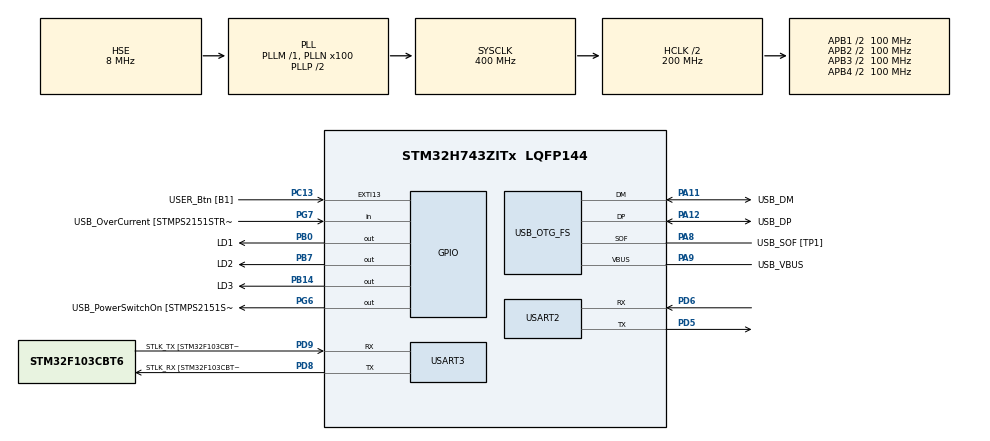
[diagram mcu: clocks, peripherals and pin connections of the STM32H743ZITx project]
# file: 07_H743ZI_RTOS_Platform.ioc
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FREERTOS.Tasks01=defaultTask,0,128,StartDefaultTask,Default,NULL
FREERTOS.configTOTAL_HEAP_SIZE=65536
Mcu.Family=STM32H7
Mcu.Name=STM32H743ZITx
Mcu.Package=LQFP144
NVIC.EXTI15_10_IRQn=true\:5\:0\:false\:false\:true\:true\:true
NVIC.OTG_FS_IRQn=true\:5\:0\:false\:false\:true\:true\:false
NVIC.PriorityGroup=NVIC_PRIORITYGROUP_4
NVIC.TIM17_IRQn=true\:0\:0\:false\:false\:true\:false\:false
NVIC.TimeBase=TIM17_IRQn
NVIC.TimeBaseIP=TIM17
NVIC.USART2_IRQn=true\:5\:0\:false\:false\:true\:true\:true
PA11.GPIO_Label=USB_DM
PA11.Mode=Device_Only
PA11.Signal=USB_OTG_FS_DM
PA12.GPIO_Label=USB_DP
PA12.Mode=Device_Only
PA12.Signal=USB_OTG_FS_DP
PA13\ (JTMS/SWDIO).GPIO_Label=TMS
PA13\ (JTMS/SWDIO).Mode=Serial_Wire
PA13\ (JTMS/SWDIO).Signal=SYS_JTMS-SWDIO
PA14\ (JTCK/SWCLK).GPIO_Label=TCK
PA14\ (JTCK/SWCLK).Mode=Serial_Wire
PA14\ (JTCK/SWCLK).Signal=SYS_JTCK-SWCLK
PA8.GPIO_Label=USB_SOF [TP1]
PA8.Mode=Activate_SOF_FS
PA8.Signal=USB_OTG_FS_SOF
PA9.GPIO_Label=USB_VBUS
PA9.Mode=Activate_VBUS
PA9.Signal=USB_OTG_FS_VBUS
PB0.GPIO_Label=LD1
PB0.GPIO_PuPd=GPIO_PULLUP
PB0.Signal=GPIO_Output
PB14.GPIO_Label=LD3
PB14.GPIO_PuPd=GPIO_PULLUP
PB14.Signal=GPIO_Output
PB3\ (JTDO/TRACESWO).GPIO_Label=SWO
PB3\ (JTDO/TRACESWO).Signal=SYS_JTDO-SWO
PB7.GPIO_Label=LD2
PB7.GPIO_PuPd=GPIO_PULLUP
PB7.Signal=GPIO_Output
PC13.GPIO_Label=USER_Btn [B1]
PC13.Signal=GPXTI13
PC14-OSC32_IN\ (OSC32_IN).Mode=LSE-External-Oscillator
PC14-OSC32_IN\ (OSC32_IN).Signal=RCC_OSC32_IN
PC15-OSC32_OUT\ (OSC32_OUT).Mode=LSE-External-Oscillator
PC15-OSC32_OUT\ (OSC32_OUT).Signal=RCC_OSC32_OUT
PD5.Mode=Asynchronous
PD5.Signal=USART2_TX
PD6.Mode=Asynchronous
PD6.Signal=USART2_RX
PD8.GPIO_Label=STLK_RX [STM32F103CBT6_PA3]
PD8.Mode=Asynchronous
PD8.Signal=USART3_TX
PD9.GPIO_Label=STLK_TX [STM32F103CBT6_PA2]
PD9.Mode=Asynchronous
PD9.Signal=USART3_RX
PG6.GPIO_Label=USB_PowerSwitchOn [STMPS2151STR_EN]
PG6.Signal=GPIO_Output
PG7.GPIO_Label=USB_OverCurrent [STMPS2151STR_FAULT]
PG7.Signal=GPIO_Input
PH0-OSC_IN\ (PH0).GPIO_Label=MCO
PH0-OSC_IN\ (PH0).Mode=HSE-External-Clock-Source
PH0-OSC_IN\ (PH0).Signal=RCC_OSC_IN
PH1-OSC_OUT\ (PH1).Mode=HSE-External-Clock-Source
PH1-OSC_OUT\ (PH1).Signal=RCC_OSC_OUT
ProjectManager.HeapSize=0x200
ProjectManager.StackSize=0x400
ProjectManager.TargetToolchain=EWARM V8
RCC.48MHZClocksFreq_Value=24000000
RCC.ADCFreq_Value=16125000
RCC.AHBFreq_Value=216000000
RCC.APB1CLKDivider=RCC_HCLK_DIV4
RCC.APB1Freq_Value=100000000
RCC.APB1TimFreq_Value=108000000
RCC.APB2CLKDivider=RCC_HCLK_DIV2
RCC.APB2Freq_Value=100000000
RCC.APB2TimFreq_Value=216000000
RCC.APB3Freq_Value=100000000
RCC.APB4Freq_Value=100000000
RCC.CortexFreq_Value=400000000
RCC.D1PPRE=RCC_APB3_DIV2
RCC.D2PPRE1=RCC_APB1_DIV2
RCC.D2PPRE2=RCC_APB2_DIV2
RCC.D3PPRE=RCC_APB4_DIV2
RCC.DIVM1=1
RCC.DIVN1=100
RCC.DIVQ1=4
RCC.HCLKFreq_Value=200000000
RCC.HPRE=RCC_HCLK_DIV2
RCC.HSE_VALUE=8000000
RCC.HSI_VALUE=64000000
RCC.PLLM=25
RCC.PLLMUL=RCC_PLL_MUL9
RCC.PLLN=432
RCC.PLLQ=9
RCC.PLLSourceVirtual=RCC_PLLSOURCE_HSE
RCC.PRESCALERUSB=RCC_USBCLKSOURCE_PLL_DIV1_5
RCC.SYSCLKFreq_VALUE=400000000
RCC.SYSCLKSource=RCC_SYSCLKSOURCE_PLLCLK
RCC.SYSCLKSourceVirtual=RCC_SYSCLKSOURCE_PLLCLK
RCC.USBCLockSelection=RCC_USBCLKSOURCE_HSI48
RCC.USBFreq_Value=48000000
RCC.VCOOutputFreq_Value=432000000
USART2.VirtualMode-Asynchronous=VM_ASYNC
USART3.VirtualMode-Asynchronous=VM_ASYNC
USB_DEVICE.APP_RX_DATA_SIZE-CDC_FS=2048
USB_DEVICE.APP_TX_DATA_SIZE-CDC_FS=2048
USB_DEVICE.CLASS_NAME_FS=CDC
USB_DEVICE.VirtualMode-CDC_FS=Cdc
USB_DEVICE.VirtualModeFS=Cdc_FS
USB_OTG_FS.VirtualMode=Device_Only
VP_FREERTOS_VS_ENABLE.Mode=Enabled
VP_SYS_VS_tim17.Mode=TIM17
VP_USB_DEVICE_VS_USB_DEVICE_CDC_FS.Mode=CDC_FS
board=NUCLEO-H743ZI

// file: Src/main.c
/* USER CODE BEGIN Header */
/**
  ******************************************************************************
  * @file           : main.c
  * @brief          : Main program body
  ******************************************************************************
  * This notice applies to any and all portions of this file
  * that are not between comment pairs USER CODE BEGIN and
  * USER CODE END. Other portions of this file, whether
  * inserted by the user or by software development tools
  * are owned by their respective copyright owners.
  *
  * Copyright (c) 2019 STMicroelectronics International N.V.
  * All rights reserved.
  *
  * Redistribution and use in source and binary forms, with or without
  * modification, are permitted, provided that the following conditions are met:
  *
  * 1. Redistribution of source code must retain the above copyright notice,
  *    this list of conditions and the following disclaimer.
  * 2. Redistributions in binary form must reproduce the above copyright notice,
  *    this list of conditions and the following disclaimer in the documentation
  *    and/or other materials provided with the distribution.
  * 3. Neither the name of STMicroelectronics nor the names of other
  *    contributors to this software may be used to endorse or promote products
  *    derived from this software without specific written permission.
  * 4. This software, including modifications and/or derivative works of this
  *    software, must execute solely and exclusively on microcontroller or
  *    microprocessor devices manufactured by or for STMicroelectronics.
  * 5. Redistribution and use of this software other than as permitted under
  *    this license is void and will automatically terminate your rights under
  *    this license.
  *
  * THIS SOFTWARE IS PROVIDED BY STMICROELECTRONICS AND CONTRIBUTORS "AS IS"
  * AND ANY EXPRESS, IMPLIED OR STATUTORY WARRANTIES, INCLUDING, BUT NOT
  * LIMITED TO, THE IMPLIED WARRANTIES OF MERCHANTABILITY, FITNESS FOR A
  * PARTICULAR PURPOSE AND NON-INFRINGEMENT OF THIRD PARTY INTELLECTUAL PROPERTY
  * RIGHTS ARE DISCLAIMED TO THE FULLEST EXTENT PERMITTED BY LAW. IN NO EVENT
  * SHALL STMICROELECTRONICS OR CONTRIBUTORS BE LIABLE FOR ANY DIRECT, INDIRECT,
  * INCIDENTAL, SPECIAL, EXEMPLARY, OR CONSEQUENTIAL DAMAGES (INCLUDING, BUT NOT
  * LIMITED TO, PROCUREMENT OF SUBSTITUTE GOODS OR SERVICES; LOSS OF USE, DATA,
  * OR PROFITS; OR BUSINESS INTERRUPTION) HOWEVER CAUSED AND ON ANY THEORY OF
  * LIABILITY, WHETHER IN CONTRACT, STRICT LIABILITY, OR TORT (INCLUDING
  * NEGLIGENCE OR OTHERWISE) ARISING IN ANY WAY OUT OF THE USE OF THIS SOFTWARE,
  * EVEN IF ADVISED OF THE POSSIBILITY OF SUCH DAMAGE.
  *
  ******************************************************************************
  */
/* USER CODE END Header */

#include "main.h"
#include "cmsis_os.h"
#include "usart.h"
#include "usb_device.h"
#include "gpio.h"

/* USER CODE BEGIN Includes */
#include "j_data.h"
#include "j_ring.h"
/* USER CODE END Includes */

/* USER CODE BEGIN PV */
properties_t	*p_properties;
RingBuffer_t	rbUartRx;

/* USER CODE END PV */

void SystemClock_Config(void);
void MX_FREERTOS_Init(void);
/* USER CODE BEGIN PFP */

uint8_t	vars_init( properties_t *ivp );
/* USER CODE END PFP */

/* USER CODE BEGIN 0 */
PUTCHAR_PROTOTYPE
{
	HAL_UART_Transmit(&PRINTF_UART_PORT, (uint8_t *)&ch, 1, 0xFFFF);
	return ch;
}
/* USER CODE END 0 */

int main(void)
{

  /* MCU Configuration--------------------------------------------------------*/

  /* Reset of all peripherals, Initializes the Flash interface and the Systick. */
  HAL_Init();

  /* Configure the system clock */
  SystemClock_Config();

  /* Initialize all configured peripherals */
  MX_GPIO_Init();
  MX_USART3_UART_Init();
  MX_USART2_UART_Init();
  /* USER CODE BEGIN 2 */
	printf( "Start RTOS Platform...\r\n" );

	/* Variable Init------------------------------------------------------------*/
	p_properties = (properties_t *)malloc( sizeof( properties_t ) );
	if( p_properties == NULL )
	{
		Error_Handler();
	}

	vars_init( p_properties );

	/* Ring buffer Init for uart input -----------------------------------------*/
	InitRingBuffer( &rbUartRx );
	HAL_UART_Receive_IT( &huart2, &rbUartRx.dummy, 1 );

	/* Gpio Init for LED -------------------------------------------------------*/
	HAL_GPIO_WritePin( LD1_GPIO_Port, LD1_Pin, GPIO_PIN_RESET );
	HAL_GPIO_WritePin( LD2_GPIO_Port, LD2_Pin, GPIO_PIN_RESET );
	HAL_GPIO_WritePin( LD3_GPIO_Port, LD3_Pin, GPIO_PIN_RESET );

  /* USER CODE END 2 */

  /* Call init function for freertos objects (in freertos.c) */
  MX_FREERTOS_Init();

  /* Start scheduler */
  osKernelStart();

  /* We should never get here as control is now taken by the scheduler */

  /* Infinite loop */
  while (1)
  {

  }
}

void SystemClock_Config(void)
{
  RCC_OscInitTypeDef RCC_OscInitStruct = {0};
  RCC_ClkInitTypeDef RCC_ClkInitStruct = {0};
  RCC_PeriphCLKInitTypeDef PeriphClkInitStruct = {0};

  /**Supply configuration update enable
  */
  MODIFY_REG(PWR->CR3, PWR_CR3_SCUEN, 0);
  /**Configure the main internal regulator output voltage
  */
  __HAL_PWR_VOLTAGESCALING_CONFIG(PWR_REGULATOR_VOLTAGE_SCALE1);

  while ((PWR->D3CR & (PWR_D3CR_VOSRDY)) != PWR_D3CR_VOSRDY)
  {

  }
  /**Initializes the CPU, AHB and APB busses clocks
  */
  RCC_OscInitStruct.OscillatorType = RCC_OSCILLATORTYPE_HSI48|RCC_OSCILLATORTYPE_HSE;
  RCC_OscInitStruct.HSEState = RCC_HSE_BYPASS;
  RCC_OscInitStruct.HSI48State = RCC_HSI48_ON;
  RCC_OscInitStruct.PLL.PLLState = RCC_PLL_ON;
  RCC_OscInitStruct.PLL.PLLSource = RCC_PLLSOURCE_HSE;
  RCC_OscInitStruct.PLL.PLLM = 1;
  RCC_OscInitStruct.PLL.PLLN = 100;
  RCC_OscInitStruct.PLL.PLLP = 2;
  RCC_OscInitStruct.PLL.PLLQ = 4;
  RCC_OscInitStruct.PLL.PLLR = 2;
  RCC_OscInitStruct.PLL.PLLRGE = RCC_PLL1VCIRANGE_3;
  RCC_OscInitStruct.PLL.PLLVCOSEL = RCC_PLL1VCOWIDE;
  RCC_OscInitStruct.PLL.PLLFRACN = 0;
  if (HAL_RCC_OscConfig(&RCC_OscInitStruct) != HAL_OK)
  {
    Error_Handler();
  }
  /**Initializes the CPU, AHB and APB busses clocks
  */
  RCC_ClkInitStruct.ClockType = RCC_CLOCKTYPE_HCLK|RCC_CLOCKTYPE_SYSCLK
                              |RCC_CLOCKTYPE_PCLK1|RCC_CLOCKTYPE_PCLK2
                              |RCC_CLOCKTYPE_D3PCLK1|RCC_CLOCKTYPE_D1PCLK1;
  RCC_ClkInitStruct.SYSCLKSource = RCC_SYSCLKSOURCE_PLLCLK;
  RCC_ClkInitStruct.SYSCLKDivider = RCC_SYSCLK_DIV1;
  RCC_ClkInitStruct.AHBCLKDivider = RCC_HCLK_DIV2;
  RCC_ClkInitStruct.APB3CLKDivider = RCC_APB3_DIV2;
  RCC_ClkInitStruct.APB1CLKDivider = RCC_APB1_DIV2;
  RCC_ClkInitStruct.APB2CLKDivider = RCC_APB2_DIV2;
  RCC_ClkInitStruct.APB4CLKDivider = RCC_APB4_DIV2;

  if (HAL_RCC_ClockConfig(&RCC_ClkInitStruct, FLASH_LATENCY_2) != HAL_OK)
  {
    Error_Handler();
  }
  PeriphClkInitStruct.PeriphClockSelection = RCC_PERIPHCLK_USART3|RCC_PERIPHCLK_USART2
                              |RCC_PERIPHCLK_USB;
  PeriphClkInitStruct.Usart234578ClockSelection = RCC_USART234578CLKSOURCE_D2PCLK1;
  PeriphClkInitStruct.UsbClockSelection = RCC_USBCLKSOURCE_HSI48;
  if (HAL_RCCEx_PeriphCLKConfig(&PeriphClkInitStruct) != HAL_OK)
  {
    Error_Handler();
  }
}

/* USER CODE BEGIN 4 */
uint8_t	vars_init( properties_t *ivp )
{
	printf( "%s\r\n", __func__ );

	// Initialize Flag Variable
	ivp->m_uartInFlag			= 0;

	// Create Memory Pool
	osPoolDef( incommpool, MEMORY_POOL_SIZE, MsgPkt_t );
	ivp->h_InCommPool		= osPoolCreate( osPool( incommpool ) );
	if( ivp->h_InCommPool == NULL )			printf( "error... osPoolCreate incommpool\r\n" );

//	osPoolDef( diagpool, MEMORY_POOL_SIZE, MsgPkt_t );
//	ivp->h_DiagPool			= osPoolCreate( osPool( diagpool ) );
//	if( ivp->h_DiagPool == NULL )			printf( "error... osPoolCreate diagpool\r\n" );

	osPoolDef( outcommpool, MEMORY_POOL_SIZE, MsgPkt_t );
	ivp->h_OutCommPool		= osPoolCreate( osPool( outcommpool ) );
	if( ivp->h_OutCommPool == NULL )		printf( "error... osPoolCreate outcommpool\r\n" );

	// Create Message Queue
	osMessageQDef( incommmessage, MESSAGE_QUEUE_SIZE, MsgClst_t );
	ivp->h_InCommMessage	= osMessageCreate( osMessageQ( incommmessage ), NULL );
	if( ivp->h_InCommMessage == NULL )		printf( "error... osMessageCreate incommmessage\r\n" );

	osMessageQDef( cancommmessage, MESSAGE_QUEUE_SIZE, MsgClst_t );
	ivp->h_CanCommMessage	= osMessageCreate( osMessageQ( cancommmessage ), NULL );
	if( ivp->h_CanCommMessage == NULL )		printf( "error... osMessageCreate cancommmessage\r\n" );

	osMessageQDef( kwpcommmessage, MESSAGE_QUEUE_SIZE, MsgClst_t );
	ivp->h_KwpCommMessage	= osMessageCreate( osMessageQ( kwpcommmessage ), NULL );
	if( ivp->h_KwpCommMessage == NULL )		printf( "error... osMessageCreate kwpcommmessage\r\n" );

	osMessageQDef( ethcommmessage, MESSAGE_QUEUE_SIZE, MsgClst_t );
	ivp->h_EthCommMessage	= osMessageCreate( osMessageQ( ethcommmessage ), NULL );
	if( ivp->h_EthCommMessage == NULL )		printf( "error... osMessageCreate ethcommmessage\r\n" );

	osMessageQDef( outcommmessage, MESSAGE_QUEUE_SIZE, MsgClst_t );
	ivp->h_OutCommMessage	= osMessageCreate( osMessageQ( outcommmessage ), NULL );
	if( ivp->h_OutCommMessage == NULL )		printf( "error... osMessageCreate outcommmessage\r\n" );

	// Start Thread
	osThreadDef( send, sendThread, osPriorityNormal, 0, 128 );
	ivp->h_sendThread		= osThreadCreate( osThread( send ), ivp );

	osThreadDef( receive, receiveThread, osPriorityNormal, 0, 128 );
	ivp->h_receiveThread	= osThreadCreate( osThread( receive ), ivp );

	osThreadDef( can, canDiagThread, osPriorityNormal, 0, 128 );
	ivp->h_canDiagThread	= osThreadCreate( osThread( can ), ivp );

	osThreadDef( kwp, kwpDiagThread, osPriorityNormal, 0, 128 );
	ivp->h_kwpDiagThread	= osThreadCreate( osThread( kwp ), ivp );

	osThreadDef( eth, ethDiagThread, osPriorityNormal, 0, 128 );
	ivp->h_ethDiagThread	= osThreadCreate( osThread( eth ), ivp );

	osThreadDef( uartRec, uartRecThread, osPriorityNormal, 0, 128 );
	p_properties->h_uartRecThread	= osThreadCreate( osThread( uartRec ), ivp );

	return 0;
}

/* USER CODE END 4 */

void HAL_TIM_PeriodElapsedCallback(TIM_HandleTypeDef *htim)
{
  if (htim->Instance == TIM17) {
    HAL_IncTick();
  }
}

void Error_Handler(void)
{
}

/************************ (C) COPYRIGHT STMicroelectronics *****END OF FILE****/

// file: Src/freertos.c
/* USER CODE BEGIN Header */
/**
  ******************************************************************************
  * File Name          : freertos.c
  * Description        : Code for freertos applications
  ******************************************************************************
  * This notice applies to any and all portions of this file
  * that are not between comment pairs USER CODE BEGIN and
  * USER CODE END. Other portions of this file, whether
  * inserted by the user or by software development tools
  * are owned by their respective copyright owners.
  *
  * Copyright (c) 2019 STMicroelectronics International N.V.
  * All rights reserved.
  *
  * Redistribution and use in source and binary forms, with or without
  * modification, are permitted, provided that the following conditions are met:
  *
  * 1. Redistribution of source code must retain the above copyright notice,
  *    this list of conditions and the following disclaimer.
  * 2. Redistributions in binary form must reproduce the above copyright notice,
  *    this list of conditions and the following disclaimer in the documentation
  *    and/or other materials provided with the distribution.
  * 3. Neither the name of STMicroelectronics nor the names of other
  *    contributors to this software may be used to endorse or promote products
  *    derived from this software without specific written permission.
  * 4. This software, including modifications and/or derivative works of this
  *    software, must execute solely and exclusively on microcontroller or
  *    microprocessor devices manufactured by or for STMicroelectronics.
  * 5. Redistribution and use of this software other than as permitted under
  *    this license is void and will automatically terminate your rights under
  *    this license.
  *
  * THIS SOFTWARE IS PROVIDED BY STMICROELECTRONICS AND CONTRIBUTORS "AS IS"
  * AND ANY EXPRESS, IMPLIED OR STATUTORY WARRANTIES, INCLUDING, BUT NOT
  * LIMITED TO, THE IMPLIED WARRANTIES OF MERCHANTABILITY, FITNESS FOR A
  * PARTICULAR PURPOSE AND NON-INFRINGEMENT OF THIRD PARTY INTELLECTUAL PROPERTY
  * RIGHTS ARE DISCLAIMED TO THE FULLEST EXTENT PERMITTED BY LAW. IN NO EVENT
  * SHALL STMICROELECTRONICS OR CONTRIBUTORS BE LIABLE FOR ANY DIRECT, INDIRECT,
  * INCIDENTAL, SPECIAL, EXEMPLARY, OR CONSEQUENTIAL DAMAGES (INCLUDING, BUT NOT
  * LIMITED TO, PROCUREMENT OF SUBSTITUTE GOODS OR SERVICES; LOSS OF USE, DATA,
  * OR PROFITS; OR BUSINESS INTERRUPTION) HOWEVER CAUSED AND ON ANY THEORY OF
  * LIABILITY, WHETHER IN CONTRACT, STRICT LIABILITY, OR TORT (INCLUDING
  * NEGLIGENCE OR OTHERWISE) ARISING IN ANY WAY OUT OF THE USE OF THIS SOFTWARE,
  * EVEN IF ADVISED OF THE POSSIBILITY OF SUCH DAMAGE.
  *
  ******************************************************************************
  */
/* USER CODE END Header */

#include "FreeRTOS.h"
#include "task.h"
#include "main.h"
#include "cmsis_os.h"

/* USER CODE BEGIN Includes */
#include "j_data.h"
#include "j_ring.h"

#include "usart.h"
#include "usbd_cdc_if.h"

/* USER CODE END Includes */

/* USER CODE BEGIN Variables */
uint8_t	g_cUserBtnFlag;
/* USER CODE END Variables */
osThreadId defaultTaskHandle;

void StartDefaultTask(void const * argument);

extern void MX_USB_DEVICE_Init(void);
void MX_FREERTOS_Init(void); /* (MISRA C 2004 rule 8.1) */

void MX_FREERTOS_Init(void) {

  /* Create the thread(s) */
  /* definition and creation of defaultTask */
  osThreadDef(defaultTask, StartDefaultTask, osPriorityNormal, 0, 128);
  defaultTaskHandle = osThreadCreate(osThread(defaultTask), NULL);

}

void StartDefaultTask(void const * argument)
{
  /* init code for USB_DEVICE */
  MX_USB_DEVICE_Init();

  /* USER CODE BEGIN StartDefaultTask */
  /* Infinite loop */
	for(;;)
	{
		if( g_cUserBtnFlag == 1 )
		{
			g_cUserBtnFlag = 0;

//			HAL_GPIO_TogglePin( LD1_GPIO_Port, LD1_Pin );
//			HAL_GPIO_TogglePin( LD2_GPIO_Port, LD2_Pin );
//			HAL_GPIO_TogglePin( LD3_GPIO_Port, LD3_Pin );
		}

//		HAL_GPIO_TogglePin( LD1_GPIO_Port, LD1_Pin );

		osDelay(100);
	}
  /* USER CODE END StartDefaultTask */
}

/* USER CODE BEGIN Application */
void sendThread( void const *argument )
{
	properties_t	*ivp	= (properties_t *)argument;
	osEvent			evt;
	MsgClst_t		*message;

//	printf( "%s\r\n", __func__ );
	for(;;)
	{
		evt		= osMessageGet( ivp->h_OutCommMessage, osWaitForever );
		message	= ( MsgClst_t * )evt.value.p;

		// add Send Output Interface code

		switch( message->source )
		{
			case USB_INTERFACE	:
				CDC_Transmit_FS( message->p_pkt->data, message->p_pkt->len );
//				message->p_pkt->data[message->p_pkt->len] = NULL;				// for test printf
//				printf( "%s\r\n", message->p_pkt->data );

				break;

			case UART_INTERFACE	:
				HAL_UART_Transmit( &huart2, message->p_pkt->data, message->p_pkt->len, 300 );
				break;

			case WIFI_INTERFACE	:
				break;

			case BT_INTERFACE	:
				break;

			default :
				break;
		}

		osPoolFree( ivp->h_OutCommPool, message->p_pkt );

		osDelay( 100 );
	}
}

void receiveThread( void const *argument )
{
	properties_t	*ivp	= (properties_t *)argument;
	osEvent			evt;
	MsgClst_t		*message;

//	printf( "%s\r\n", __func__ );
	for(;;)
	{
		evt		= osMessageGet( ivp->h_InCommMessage, osWaitForever );
		message	= ( MsgClst_t * )evt.value.p;

#if 0	// for test
		message->p_incommpkt->data[message->p_incommpkt->len] = NULL;
//		printf( "i = %d\r\n", message->index );
//		printf( "s = %d\r\n", message->p_incommpkt->source );
//		printf( "l = %d\r\n", message->p_incommpkt->len );
		printf( "d = %s\r", message->p_incommpkt->data );
#endif
		if( ( message->p_pkt->data[0] == 'G' ) &&
			( message->p_pkt->data[1] == 'I' ) &&
			( message->p_pkt->data[2] == 'T' ) )
		{
			MsgClst_t		target_message;
			osMessageQId	h_target;

			int32_t			target	= message->p_pkt->data[3] % 3;

			switch( target )
			{
				case CAN_INTERFACE :
					h_target	= ivp->h_CanCommMessage;
					break;

				case KWP_INTERFACE :
					h_target	= ivp->h_KwpCommMessage;
					break;

				case ETH_INTERFACE :
					h_target	= ivp->h_EthCommMessage;
					break;

				default	:
					break;
			}

			target_message.source	= message->source;
			target_message.p_pkt	= message->p_pkt;
			osMessagePut( h_target, (uint32_t)&target_message, osWaitForever );
		}

//		message->p_pkt->data[message->p_pkt->len] = NULL;				// for test printf
//		printf( "%s\r", message->p_pkt->data );

//		osPoolFree( ivp->h_InCommPool, message->p_pkt );

//		HAL_GPIO_TogglePin( LD2_GPIO_Port, LD2_Pin );

		osDelay( 100 );
	}
}

void canDiagThread( void const *argument )
{
	properties_t	*ivp	= (properties_t *)argument;
	osEvent			evt;
	MsgClst_t		*message;

	MsgPkt_t		*packet;
	MsgClst_t		target_message;

	uint8_t			test_string[30];

//	printf( "%s\r\n", __func__ );
	for(;;)
	{
		evt		= osMessageGet( ivp->h_CanCommMessage, osWaitForever );
		message	= ( MsgClst_t * )evt.value.p;

		// add Parsign & Diagnostic code

#if 1	// test
		sprintf( (char *)test_string, "Can processed Date!!" );

		packet		= ( MsgPkt_t * )osPoolAlloc( ivp->h_OutCommPool );
		packet->len	= strlen( (char *)test_string );
		memcpy( (void *)packet->data, (const void *)test_string, strlen( (char *)test_string ) );

		target_message.source	= message->source;
		target_message.p_pkt	= packet;
		osMessagePut( ivp->h_OutCommMessage, (uint32_t)&target_message, osWaitForever );
#endif

		osPoolFree( ivp->h_InCommPool, message->p_pkt );

		HAL_GPIO_TogglePin( LD1_GPIO_Port, LD1_Pin );

		osDelay( 100 );
	}
}

void kwpDiagThread( void const *argument )
{
	properties_t	*ivp	= (properties_t *)argument;
	osEvent			evt;
	MsgClst_t		*message;

	MsgPkt_t		*packet;
	MsgClst_t		target_message;

	uint8_t			test_string[30];

//	printf( "%s\r\n", __func__ );
	for(;;)
	{
		evt		= osMessageGet( ivp->h_KwpCommMessage, osWaitForever );
		message	= ( MsgClst_t * )evt.value.p;

		// add Parsign & Diagnostic code

#if 1	// test
		sprintf( (char *)test_string, "KWP processed Date!!" );

		packet		= ( MsgPkt_t * )osPoolAlloc( ivp->h_OutCommPool );
		packet->len	= strlen( (char *)test_string );
		memcpy( (void *)packet->data, (const void *)test_string, strlen( (char *)test_string ) );

		target_message.source	= message->source;
		target_message.p_pkt	= packet;
		osMessagePut( ivp->h_OutCommMessage, (uint32_t)&target_message, osWaitForever );
#endif

		osPoolFree( ivp->h_InCommPool, message->p_pkt );

		HAL_GPIO_TogglePin( LD2_GPIO_Port, LD2_Pin );

		osDelay( 100 );
	}
}

void ethDiagThread( void const *argument )
{
	properties_t	*ivp	= (properties_t *)argument;
	osEvent			evt;
	MsgClst_t		*message;

	MsgPkt_t		*packet;
	MsgClst_t		target_message;

	uint8_t			test_string[30];

//	printf( "%s\r\n", __func__ );
	for(;;)
	{
		evt		= osMessageGet( ivp->h_EthCommMessage, osWaitForever );
		message	= ( MsgClst_t * )evt.value.p;

		// add Parsign & Diagnostic code

#if 1	// test
		sprintf( (char *)test_string, "ETH processed Date!!" );

		packet		= ( MsgPkt_t * )osPoolAlloc( ivp->h_OutCommPool );
		packet->len	= strlen( (char *)test_string );
		memcpy( (void *)packet->data, (const void *)test_string, strlen( (char *)test_string ) );

		target_message.source	= message->source;
		target_message.p_pkt	= packet;
		osMessagePut( ivp->h_OutCommMessage, (uint32_t)&target_message, osWaitForever );
#endif

		osPoolFree( ivp->h_InCommPool, message->p_pkt );

		HAL_GPIO_TogglePin( LD3_GPIO_Port, LD3_Pin );

		osDelay( 100 );
	}
}

void uartRecThread( void const *argument )
{
	properties_t	*ivp	= (properties_t *)argument;

	MsgPkt_t	*packet;
	MsgClst_t	message;

	uint16_t	len;
	uint16_t	i;
	uint16_t	waitTime;

	for(;;)
	{
		/* Uart Data가 들어올때까지 Wait */
		while( !ivp->m_uartInFlag )
		{
			osDelay( 100 );
		}

		if( GetQueueSize( &rbUartRx ) >= UART_PROTOCOL_START_SIZE )
		{
			if( Dequeue( &rbUartRx ) == 'G' )
			{
				if( Dequeue( &rbUartRx ) == 'I' )
				{
					if( Dequeue( &rbUartRx ) == 'T' )
					{
						/* Get Data Length */
						len = Dequeue( &rbUartRx ) * 256;
						len = len + Dequeue( &rbUartRx );
						printf( "data len = %d\r\n", len );

						/* 모든 데이터가 수신될때까지 대기 */
						waitTime = 300;		// 3s
						while( GetQueueSize( &rbUartRx ) < len )
						{
							waitTime--;
							if( waitTime == 0 )
							{
								printf( "error... timeout receive uart data!!\r\n" );
								while( !IsEmpty( &rbUartRx ) )
								{
									Dequeue( &rbUartRx );
								}

								break;
							}

							osDelay( 10 );
						}

						if( waitTime == 0 )		continue;						// uart 처리 Reset

						/* 수신된 데이트를 Packet에 저장 */
						packet	= ( MsgPkt_t * )osPoolAlloc( ivp->h_InCommPool );
						packet->len	= len;

						for( i = 0; i < len; i++ )
						{
							packet->data[i] = Dequeue( &rbUartRx );
							printf( "0x%02x\r\n", packet->data[i] );
						}

						/* Packet을 InCommMessage에 전달 */
						message.source	= UART_INTERFACE;
						message.p_pkt	= packet;
						osMessagePut( ivp->h_InCommMessage, (uint32_t)&message, osWaitForever );

						ivp->m_uartInFlag	= 0;
					}
				}
			}
		}

		osDelay( 10 );
	}
}
/* USER CODE END Application */

/************************ (C) COPYRIGHT STMicroelectronics *****END OF FILE****/
